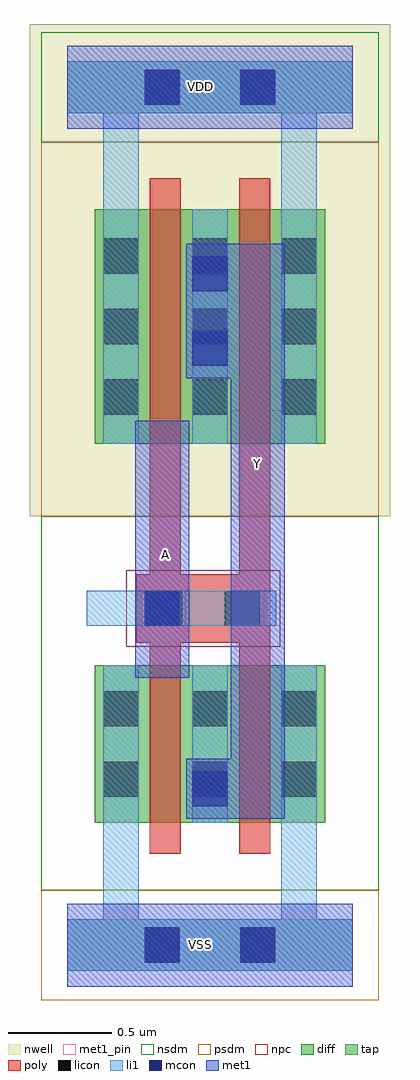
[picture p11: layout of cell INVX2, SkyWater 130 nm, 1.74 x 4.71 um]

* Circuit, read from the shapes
.subckt INVX2 A VDD VSS Y
XM1 Y A VSS VSS sky130_fd_pr__nfet_01v8 w=0.76 l=0.15 m=2
XM2 Y A VDD VDD sky130_fd_pr__pfet_01v8 w=1.13 l=0.15 m=2
.ends

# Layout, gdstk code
import gdstk
lib = gdstk.Library(unit=1e-6, precision=1e-09)
def R(c, l, rs):  # rectangles x0, y0, x1, y1
    for r in rs: c.add(gdstk.rectangle(r[:2], r[2:], *l))
def A(c, l, x, y, w, h, nx, ny, dx, dy):  # array of equal rectangles
    R(c, l, [(x+i*dx, y+j*dy, x+i*dx+w, y+j*dy+h) for i in range(nx) for j in range(ny)])
nwell = (64, 20)
diff = (65, 20)
tap = (65, 44)
poly = (66, 20)
licon = (66, 44)
li1 = (67, 20)
mcon = (67, 44)
met1_pin = (68, 16)
met1 = (68, 20)
nsdm = (93, 44)
psdm = (94, 20)
npc = (95, 20)

pyl1con_c_cdns_750710154 = lib.new_cell('PYL1CON_C_CDNS_750710154092')
R(pyl1con_c_cdns_750710154, poly, [(-0.135,-0.165,0.135,0.165)])
R(pyl1con_c_cdns_750710154, licon, [(-0.085,-0.085,0.085,0.085)])
R(pyl1con_c_cdns_750710154, npc, [(-0.185,-0.185,0.185,0.185)])

l1m1_c_cdns_750710154091 = lib.new_cell('L1M1_C_CDNS_750710154091')
R(l1m1_c_cdns_750710154091, li1, [(-0.085,-0.165,0.085,0.165)])
R(l1m1_c_cdns_750710154091, mcon, [(-0.085,-0.085,0.085,0.085)])
R(l1m1_c_cdns_750710154091, met1, [(-0.115,-0.145,0.115,0.145)])

l1m1_c_cdns_750710154094 = lib.new_cell('L1M1_C_CDNS_750710154094')
R(l1m1_c_cdns_750710154094, li1, [(-0.085,-0.345,0.085,0.345)])
R(l1m1_c_cdns_750710154094, mcon, [(-0.085,-0.265,0.085,-0.095), (-0.085,0.095,0.085,0.265)])
R(l1m1_c_cdns_750710154094, met1, [(-0.115,-0.325,0.115,0.325)])

l1m1_c_cdns_750710154090 = lib.new_cell('L1M1_C_CDNS_750710154090')
R(l1m1_c_cdns_750710154090, li1, [(-0.165,-0.085,0.165,0.085)])
R(l1m1_c_cdns_750710154090, mcon, [(-0.085,-0.085,0.085,0.085)])
R(l1m1_c_cdns_750710154090, met1, [(-0.115,-0.145,0.115,0.145)])

invx2 = lib.new_cell('INVX2')
R(invx2, nwell, [(-0.18,2.07,1.56,4.305), (-0.045,2.24,1.425,3.73), (-0.18,3.875,1.56,4.445)])
R(invx2, diff, [(0.135,0.59,0.4,1.35), (0.4,0.59,0.55,1.35), (0.55,0.59,0.83,1.35), (0.83,0.59,0.98,1.35), (0.98,0.59,1.245,1.35), (0.135,2.42,0.4,3.55), (0.4,2.42,0.55,3.55), (0.55,2.42,0.83,3.55), (0.83,2.42,0.98,3.55), (0.98,2.42,1.245,3.55)])
R(invx2, poly, [(0.4,0.44,0.55,0.495), (0.83,0.44,0.98,0.495), (0.4,0.495,0.55,0.59), (0.83,0.495,0.98,0.59), (0.4,0.59,0.55,1.35), (0.83,0.59,0.98,1.35), (0.4,1.35,0.55,1.445), (0.83,1.35,0.98,1.445), (0.4,1.445,0.55,1.5), (0.83,1.445,0.98,1.5), (0.4,2.27,0.55,2.325), (0.83,2.27,0.98,2.325), (0.4,2.325,0.55,2.42), (0.83,2.325,0.98,2.42), (0.4,2.42,0.55,3.55), (0.83,2.42,0.98,3.55), (0.4,3.55,0.55,3.645), (0.83,3.55,0.98,3.645), (0.4,3.645,0.55,3.7), (0.83,3.645,0.98,3.7)])
A(invx2, licon, 0.175, 0.715, 0.17, 0.17, 3, 2, 0.43, 0.34)
A(invx2, licon, 0.175, 2.56, 0.17, 0.17, 3, 3, 0.43, 0.34)
R(invx2, licon, [(0.375,-0.085,0.545,0.085), (0.835,-0.085,1.005,0.085), (0.375,4.055,0.545,4.225), (0.835,4.055,1.005,4.225)])
A(invx2, li1, 0.175, 0.59, 0.17, 0.76, 3, 1, 0.43, 0)
A(invx2, li1, 0.175, 2.42, 0.17, 1.13, 3, 1, 0.43, 0)
R(invx2, mcon, [(0.375,-0.085,0.545,0.085), (0.835,-0.085,1.005,0.085), (0.375,4.055,0.545,4.225), (0.835,4.055,1.005,4.225)])
R(invx2, met1_pin, [(0.33,1.29,0.59,2.53), (0.79,1.34,1.05,2.58)])
R(invx2, nsdm, [(-0.125,0.265,1.505,2.07), (-0.005,0.46,1.385,1.48), (-0.125,3.875,1.505,4.405), (-0.125,3.93,1.505,4.35)])
R(invx2, psdm, [(-0.125,-0.265,1.505,0.265), (-0.125,-0.21,1.505,0.21), (-0.125,2.07,1.505,3.875), (-0.005,2.29,1.385,3.68)])
R(invx2, npc, [(0.285,1.44,1.03,1.81)])
invx2.add(gdstk.FlexPath([(0.475,1.625),(0.475,1.5)], 0.15, ends=(0.165, 0), simple_path=True, layer=66, datatype=20))  # poly
invx2.add(gdstk.FlexPath([(0.475,1.625),(0.44,1.625)], 0.33, ends=(0.075, 0.075), simple_path=True, layer=66, datatype=20))  # poly
invx2.add(gdstk.FlexPath([(0.475,2.33),(0.475,1.625)], 0.15, ends=(0, 0.165), simple_path=True, layer=66, datatype=20))  # poly
invx2.add(gdstk.FlexPath([(0.905,2.33),(0.905,1.445)], 0.15, ends="flush", simple_path=True, layer=66, datatype=20))  # poly
invx2.add(gdstk.FlexPath([(0.87,1.625),(0.475,1.625)], 0.33, ends=(0.075, 0.075), simple_path=True, layer=66, datatype=20))  # poly
invx2.add(gdstk.FlexPath([(0.26,0),(0.215,0)], 0.17, ends=(0.085, 0), simple_path=True, layer=67, datatype=20))  # li1
invx2.add(gdstk.FlexPath([(0,0),(0.26,0)], 0.25, ends=(0, 0.085), simple_path=True, layer=67, datatype=20))  # li1
invx2.add(gdstk.FlexPath([(1.12,0),(1.38,0)], 0.25, ends=(0.085, 0), simple_path=True, layer=67, datatype=20))  # li1
invx2.add(gdstk.FlexPath([(0.26,0),(1.12,0)], 0.25, ends=(0.085, 0.085), simple_path=True, layer=67, datatype=20))  # li1
invx2.add(gdstk.FlexPath([(0,4.14),(0.26,4.14)], 0.25, ends=(0, 0.085), simple_path=True, layer=67, datatype=20))  # li1
invx2.add(gdstk.FlexPath([(0.095,1.625),(1.01,1.625)], 0.17, ends="flush", simple_path=True, layer=67, datatype=20))  # li1
invx2.add(gdstk.FlexPath([(1.12,4.14),(1.38,4.14)], 0.25, ends=(0.085, 0), simple_path=True, layer=67, datatype=20))  # li1
invx2.add(gdstk.FlexPath([(0.295,1.625),(0.64,1.625)], 0.17, ends="flush", simple_path=True, layer=67, datatype=20))  # li1
invx2.add(gdstk.FlexPath([(0.26,4.14),(1.12,4.14)], 0.25, ends=(0.085, 0.085), simple_path=True, layer=67, datatype=20))  # li1
invx2.add(gdstk.FlexPath([(0.26,4.14),(0.215,4.14)], 0.17, ends=(0.085, 0), simple_path=True, layer=67, datatype=20))  # li1
invx2.add(gdstk.FlexPath([(0.26,3.55),(0.26,4.14)], 0.17, ends=(0, 0.125), simple_path=True, layer=67, datatype=20))  # li1
invx2.add(gdstk.FlexPath([(1.12,3.55),(1.12,4.14)], 0.17, ends=(0, 0.125), simple_path=True, layer=67, datatype=20))  # li1
invx2.add(gdstk.FlexPath([(0.26,0.59),(0.26,0)], 0.17, ends=(0, 0.085), simple_path=True, layer=67, datatype=20))  # li1
invx2.add(gdstk.FlexPath([(1.12,0),(0.26,0)], 0.17, ends=(0.085, 0), simple_path=True, layer=67, datatype=20))  # li1
invx2.add(gdstk.FlexPath([(1.12,0.59),(1.12,0)], 0.17, ends=(0, 0.125), simple_path=True, layer=67, datatype=20))  # li1
invx2.add(gdstk.FlexPath([(0,0),(1.38,0)], 0.25, ends="flush", simple_path=True, layer=65, datatype=44))  # tap
invx2.add(gdstk.FlexPath([(0,4.14),(1.38,4.14)], 0.25, ends="flush", simple_path=True, layer=65, datatype=44))  # tap
invx2.add(gdstk.FlexPath([(0,4.14),(1.38,4.14)], 0.4, ends="flush", simple_path=True, layer=68, datatype=20))  # met1
invx2.add(gdstk.FlexPath([(0,0),(1.38,0)], 0.4, ends="flush", simple_path=True, layer=68, datatype=20))  # met1
invx2.add(gdstk.FlexPath([(0.46,1.29),(0.46,2.53)], 0.26, ends="flush", simple_path=True, layer=68, datatype=20))  # met1
invx2.add(gdstk.FlexPath([(0.92,3.385),(0.92,0.61)], 0.26, ends="flush", simple_path=True, layer=68, datatype=20))  # met1
invx2.add(gdstk.FlexPath([(0,4.14),(1.38,4.14)], 0.4, ends="flush", simple_path=True, layer=68, datatype=16))  # met1_pin
invx2.add(gdstk.FlexPath([(0,0),(1.38,0)], 0.4, ends="flush", simple_path=True, layer=68, datatype=16))  # met1_pin
invx2.add(gdstk.Reference(pyl1con_c_cdns_750710154, (0.47,1.625)))
invx2.add(gdstk.Reference(pyl1con_c_cdns_750710154, (0.845,1.625)))
invx2.add(gdstk.Reference(l1m1_c_cdns_750710154091, (0.69,0.755)))
invx2.add(gdstk.Reference(l1m1_c_cdns_750710154094, (0.69,3.06)))
invx2.add(gdstk.Reference(l1m1_c_cdns_750710154090, (0.46,1.625), x_reflection=True))
invx2.add(gdstk.Label('VDD', (0.645,4.145), layer=68, texttype=5))
invx2.add(gdstk.Label('A', (0.475,1.885), layer=68, texttype=5))
invx2.add(gdstk.Label('Y', (0.92,2.325), layer=68, texttype=5))
invx2.add(gdstk.Label('VSS', (0.645,0.005), layer=68, texttype=5))

lib.write_gds('INVX2.gds')
